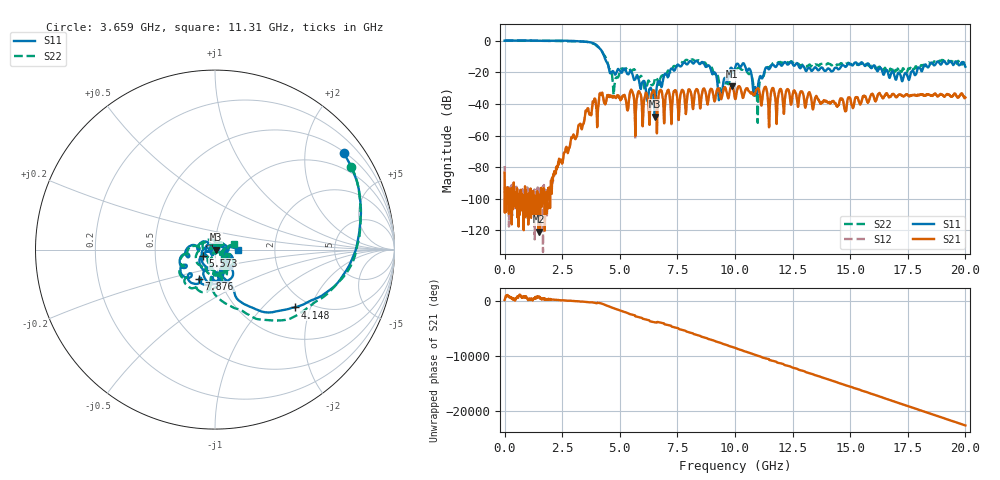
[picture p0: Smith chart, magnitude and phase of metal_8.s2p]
#  HZ  S  RI  R  50.00
! Rohde & Schwarz Vector Network Analyzer
! Rohde-Schwarz,ZNB20-2Port,1311601062102128,3.60
! Created: UTC 4/29/2024, 2:40:49 PM
! freq[Hz]  re:S11  im:S11  re:S21  im:S21  re:S12  im:S12  re:S22  im:S22
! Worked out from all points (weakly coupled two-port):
!   2007 points, 100 kHz to 20 GHz, reference 50 ohm
!   highest |S21| = -28.81 dB at 9.85 GHz (marker M1); lowest = -120.8 dB at 1.476 GHz (marker M2)
!   lowest |S11| = -48.0 dB at 6.521 GHz (marker M3), VSWR 1.01, Z = 50.4 + j0.0374 ohm
!   |S11| at or under -10 dB: 4.325 GHz to end of sweep
!   |S22| runs from -52.0 to 0.1 dB; largest |S21 - S12| = 0.0016
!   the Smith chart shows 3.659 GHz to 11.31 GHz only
!   S11 on the Smith chart (normalised r, x): 3.659 GHz: 0.53, +2.92; 4.148 GHz: 1.69, -1.56; 5.573 GHz: 0.87, -0.06; 7.876 GHz: 0.80, -0.27; 11.31 GHz: 1.29, -0.00
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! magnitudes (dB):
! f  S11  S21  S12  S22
! 100 kHz  0.0  -83.5  -79.2  0.1
! 1.476 GHz  -0.1  -120.8  -99.2  -0.1
! 2.243 GHz  0.0  -81.6  -80.9  -0.3
! 3.34 GHz  -0.6  -55.8  -55.5  -0.6
! 3.659 GHz  -0.9  -45.6  -45.6  -1.0
! 4.148 GHz  -5.2  -33.4  -33.0  -5.1
! 4.756 GHz  -20.5  -35.6  -35.7  -30.2
! 5.573 GHz  -22.6  -33.9  -34.0  -18.5
! 6.521 GHz  -48.0  -33.6  -33.6  -24.3
! 6.67 GHz  -25.9  -36.3  -36.2  -26.8
! 7.876 GHz  -14.7  -45.3  -45.2  -12.1
! 8.863 GHz  -15.7  -35.2  -35.2  -16.6
! 9.362 GHz  -33.1  -35.5  -35.5  -32.9
! 9.85 GHz  -17.3  -28.8  -28.8  -20.4
! 10 GHz  -17.4  -36.6  -36.6  -20.4
! 10.65 GHz  -18.2  -32.7  -32.7  -20.8
! 10.93 GHz  -31.9  -30.9  -30.9  -33.0
! 11.31 GHz  -18.0  -29.4  -29.3  -19.0
! 11.48 GHz  -18.1  -54.7  -54.9  -17.0
! 13.34 GHz  -19.2  -39.7  -39.7  -16.0
! 16.67 GHz  -22.2  -35.3  -35.4  -20.3
! 20 GHz  -16.5  -35.9  -35.9  -13.8
